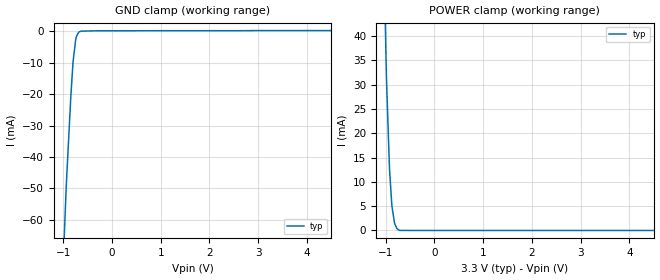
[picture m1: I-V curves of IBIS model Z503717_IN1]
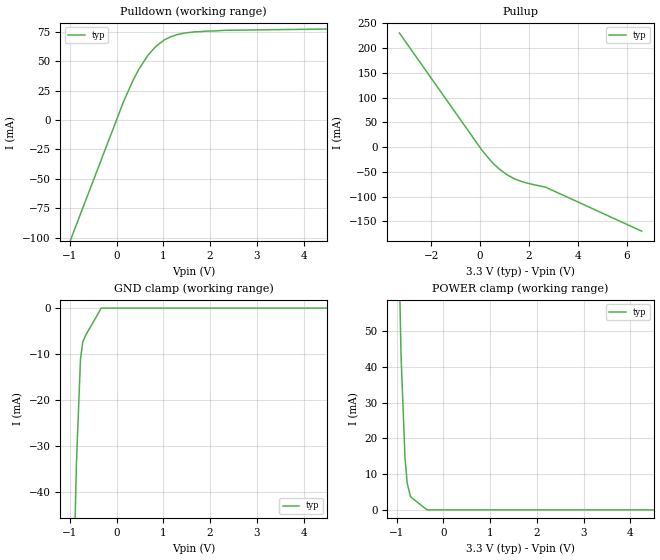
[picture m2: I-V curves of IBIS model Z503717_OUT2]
| YOU ARE ONLY AUTHORIZED TO USE THIS SOFTWARE
| ACCORDING TO LICENSOR'S LICENSE RESTRICTIONS.
[IBIS Ver] 3.1
[File Name] mc74ac10n_33.ibs
[File Rev] 2.0
[Source] Measured and created by ICX Technology
[Date] Friday 7/14/00 9:07:58 AM
[Copyright]
| (C) COPYRIGHT 1993-2000
| MENTOR GRAPHICS CORPORATION
| ICX STANDARD LIBRARY, ICX PROJECT MODELING,
| ICX CUSTOM MODELING, ICX VENDOR MODEL
| ALL RIGHTS RESERVED.
| THE FOLLOWING ARE TRADEMARKS OR SERVICE MARKS OF
| MENTOR GRAPHICS CORPORATION:ICX (R), ICX STANDARD
| LIBRARY(R), ICX PROJECT MODELING(R), ICX CUSTOM
| MODELING(R), qualityIBIS(TM), MODELVIEWER(TM),
| AND MODELEDITOR(TM)
| ALL COPIES OF SOFTWARE, INCLUDING BUT NOT LIMITED TO
| ANY MODIFICATIONS, ENHANCEMENTS OR DERIVATIVE WORKS,
| MUST CONTAIN ALL MENTOR GRAPHICS CORPORATION'S
| NOTICES AND LEGENDS, INCLUDING THOSE EMBEDDED IN
| SOFTWARE AND THOSE AFFIXED TO SOFTWARE MEDIUM
| AND CONTAINER, AS RECEIVED FROM MENTOR GRAPHICS
| CORPORATION.
|  ZAP Model Builder 2.7
[Component] MC74AC10N_33
[Manufacturer] OnSemiconductor
[Package]
| variable   typ   min   max
R_pkg  .21ohms NA NA
L_pkg  4.543nH NA NA
C_pkg  1.059pF NA NA
[Pin] signal_name  model_name  R_pin  L_pin C_pin
1 1A Z503717_IN1 .22 6.757n 1.432p
2 1B Z503717_IN1 .212 4.757n 1.142p
3 2A Z503717_IN1 .204 3.257n .852p
4 2B Z503717_IN1 .196 2.257n .562p
5 2C Z503717_IN1 .204 3.257n .852p
6 2Y Z503717_OUT2 .212 4.757n 1.142p
7 GND GND .22 6.757n 1.432p
8 3Y Z503717_OUT2 .22 6.757n 1.432p
9 3A Z503717_IN1 .212 4.757n 1.142p
10 3B Z503717_IN1 .204 3.257n .852p
11 3C Z503717_IN1 .196 2.257n .562p
12 1Y Z503717_OUT2 .204 3.257n .852p
13 1C Z503717_IN1 .212 4.757n 1.142p
14 VCC POWER .22 6.757n 1.432p
| Models and submodels in the file (2): Z503717_IN1 (Input), Z503717_OUT2 (Output)
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| (C) COPYRIGHT 1993-2000
| MENTOR GRAPHICS CORPORATION
| ICX STANDARD LIBRARY, ICX PROJECT MODELING,
| ICX CUSTOM MODELING, ICX VENDOR MODEL
| ALL RIGHTS RESERVED.
| THE FOLLOWING ARE TRADEMARKS OR SERVICE MARKS OF
| MENTOR GRAPHICS CORPORATION:ICX (R), ICX STANDARD
| LIBRARY(R), ICX PROJECT MODELING(R), ICX CUSTOM
| MODELING(R), qualityIBIS(TM), MODELVIEWER(TM),
| AND MODELEDITOR(TM)
| ALL COPIES OF SOFTWARE, INCLUDING BUT NOT LIMITED TO
| ANY MODIFICATIONS, ENHANCEMENTS OR DERIVATIVE WORKS,
| MUST CONTAIN ALL MENTOR GRAPHICS CORPORATION'S
| NOTICES AND LEGENDS, INCLUDING THOSE EMBEDDED IN
| SOFTWARE AND THOSE AFFIXED TO SOFTWARE MEDIUM
| AND CONTAINER, AS RECEIVED FROM MENTOR GRAPHICS
| CORPORATION.
| Model Application Version 1.89 2/18/99.
[Model] Z503717_IN1
Model_type Input
Vinl = 990.0mV
Vinh = 2.310V
C_comp 4.000pF NA NA
| variable typ   min   max
[Voltage Range] 3.300V NA NA
[GND Clamp Reference] 0.000V NA NA
[POWER Clamp Reference] 3.300V NA NA
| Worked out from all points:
|   GND clamp passes 1 mA (typ) near -0.71 V on its own axis
|   POWER clamp passes 1 mA (typ) near -0.80 V on its own axis
[GND Clamp]
-3.3V     -1.651A    NA         NA
-1.006V   -75.67mA   NA         NA
-937.5mV  -48.81mA   NA         NA
-845mV    -20.77mA   NA         NA
-800.6mV  -9.939mA   NA         NA
-748mV    -2.944mA   NA         NA
-731.8mV  -1.662mA   NA         NA
-687.7mV  -354.5uA   NA         NA
-668.3mV  -103.9uA   NA         NA
-314.6mV  196.8uA    NA         NA
6.6V      277.1uA    NA         NA
[POWER Clamp]
-3.3V     2.1A       NA         NA
-1.152V   136.4mA    NA         NA
-1.025V   50.21mA    NA         NA
-987mV    31.66mA    NA         NA
-924mV    12.8mA     NA         NA
-875mV    5.11mA     NA         NA
-820mV    1.494mA    NA         NA
-777mV    526.1uA    NA         NA
-758mV    268.5uA    NA         NA
-719mV    11.2uA     NA         NA
-359.5mV  0A         NA         NA
6.6V      0A         NA         NA
| (C) COPYRIGHT 1993-2000
| MENTOR GRAPHICS CORPORATION
| ICX STANDARD LIBRARY, ICX PROJECT MODELING,
| ICX CUSTOM MODELING, ICX VENDOR MODEL
| ALL RIGHTS RESERVED.
| THE FOLLOWING ARE TRADEMARKS OR SERVICE MARKS OF
| MENTOR GRAPHICS CORPORATION:ICX (R), ICX STANDARD
| LIBRARY(R), ICX PROJECT MODELING(R), ICX CUSTOM
| MODELING(R), qualityIBIS(TM), MODELVIEWER(TM),
| AND MODELEDITOR(TM)
| ALL COPIES OF SOFTWARE, INCLUDING BUT NOT LIMITED TO
| ANY MODIFICATIONS, ENHANCEMENTS OR DERIVATIVE WORKS,
| MUST CONTAIN ALL MENTOR GRAPHICS CORPORATION'S
| NOTICES AND LEGENDS, INCLUDING THOSE EMBEDDED IN
| SOFTWARE AND THOSE AFFIXED TO SOFTWARE MEDIUM
| AND CONTAINER, AS RECEIVED FROM MENTOR GRAPHICS
| CORPORATION.
| Model Application Version 1.89 2/18/99.
[Model] Z503717_OUT2
Model_type Output
Vref=0.000V
Rref=500.0ohms
Cref=50.00pF
Vmeas=1.650V
C_comp 8.000pF NA NA
| variable typ   min   max
[Voltage Range] 3.300V NA NA
[POWER Clamp Reference] 3.300V NA NA
[Pullup Reference] 3.300V NA NA
[Pulldown Reference] 0.000V NA NA
[GND Clamp Reference] 0.000V NA NA
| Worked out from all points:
|   slope of the pulldown table from 0 to 0.495 V, typ, clamps not added: 11.2 ohm
|   slope of the pullup table from 0 to 0.495 V, typ, clamps not added: 16.7 ohm
[GND Clamp]
-3.3V     -967mA     NA         NA
-1.07V    -125.5mA   NA         NA
-858mV    -33.75mA   NA         NA
-771.2mV  -11.08mA   NA         NA
-721.5mV  -7.339mA   NA         NA
-653.4mV  -5.769mA   NA         NA
-326.7mV  0A         NA         NA
6.6V      0A         NA         NA
[Pulldown]
-3.3V     -342.1mA   NA         NA
151.7mV   15.72mA    NA         NA
351.9mV   33.58mA    NA         NA
478.5mV   43.16mA    NA         NA
664.4mV   54.52mA    NA         NA
874.1mV   63.55mA    NA         NA
1.03V     68.2mA     NA         NA
1.152V    70.52mA    NA         NA
1.285V    72.4mA     NA         NA
1.547V    74.28mA    NA         NA
2.3V      76.15mA    NA         NA
6.6V      78.3mA     NA         NA
[Pullup]
-3.3V     230.5mA    NA         NA
73mV      -6.456mA   NA         NA
448mV     -28.55mA   NA         NA
805mV     -45.36mA   NA         NA
1.172V    -58.18mA   NA         NA
1.504V    -66.18mA   NA         NA
1.974V    -73.62mA   NA         NA
2.688V    -81.41mA   NA         NA
6.6V      -170mA     NA         NA
[POWER Clamp]
-3.3V     2.104A     NA         NA
-1.03V    123.4mA    NA         NA
-907mV    43.42mA    NA         NA
-822mV    14.56mA    NA         NA
-775mV    7.515mA    NA         NA
-703mV    3.662mA    NA         NA
-351.5mV  0A         NA         NA
6.6V      0A         NA         NA
[Ramp]
| variable typ min max
dV/dt_r 1.936/406.5p NA NA
dV/dt_f 1.936/440.6p NA NA
R_load = 500.0Ohms
